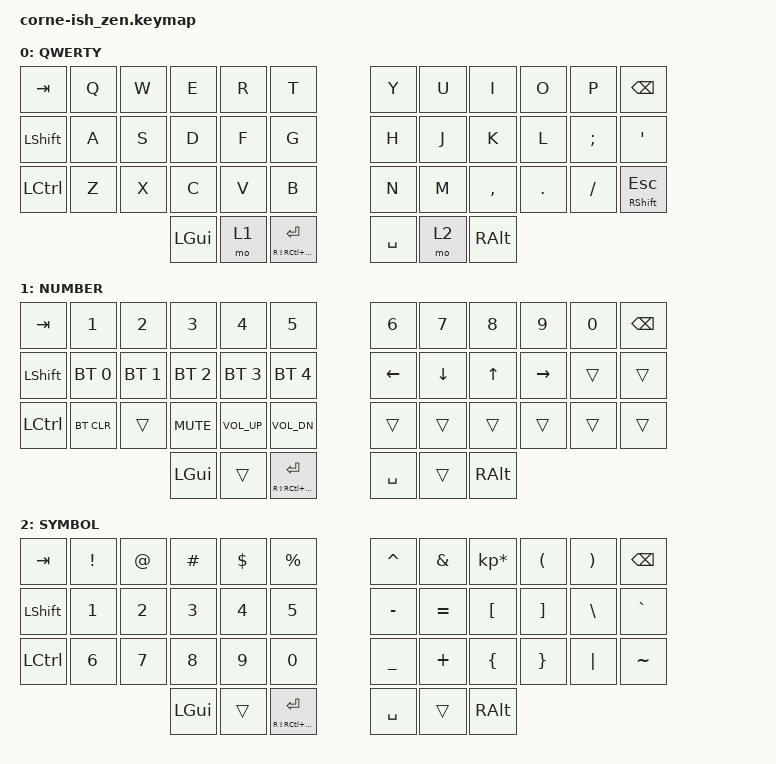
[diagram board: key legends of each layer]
/*
*
* Copyright (c) 2021 Darryl deHaan
* SPDX-License-Identifier: MIT
*
*/

#include <behaviors.dtsi>
#include <dt-bindings/zmk/keys.h>
#include <dt-bindings/zmk/bt.h>

&mt {
    flavor = "hold-preferred";
    tapping-term-ms = <150>;
};

/ {
        keymap {
                compatible = "zmk,keymap";

                default_layer {
                        label = "QWERTY";
// -----------------------------------------------------------------------------------------
// |  TAB |  Q  |  W  |  E  |  R  |  T  |   |  Y  |  U   |  I  |  O  |  P  | BKSP |
// | SHFT |  A  |  S  |  D  |  F  |  G  |   |  H  |  J   |  K  |  L  |  ;  |  '   |
// | CTRL |  Z  |  X  |  C  |  V  |  B  |   |  N  |  M   |  ,  |  .  |  /  | ESC  |
//                    | GUI | LWR | ENT |   | SPC | RSE  | ALT |
                        bindings = <
   &kp TAB   &kp Q &kp W &kp E &kp R &kp T   &kp Y &kp U  &kp I     &kp O   &kp P    &kp BSPC
   &kp LSHFT &kp A &kp S &kp D &kp F &kp G   &kp H &kp J  &kp K     &kp L   &kp SEMI &kp SQT
   &kp LCTRL &kp Z &kp X &kp C &kp V &kp B   &kp N &kp M  &kp COMMA &kp DOT &kp FSLH &mt RSHIFT ESC
                  &kp LGUI &mo 1 &mt RS(RC(RA(RGUI))) RET   &kp SPACE &mo 2 &kp RALT
                        >;
                };
                lower_layer {
                        label = "NUMBER";
// -----------------------------------------------------------------------------------------
// |  TAB |  1  |  2  |  3  |  4  |  5  |   |  6  |  7  |  8  |  9  |  0  | BKSP |
// | SHFT | BT1 | BT2 | BT3 | BT4 | BT5 |   | LFT | DWN |  UP | RGT |     |      |
// | CTRL |BTCLR|     | MUTE| VOLU| VOLD|   |     |     |     |     |     |      |
//                    | GUI |     | ENT |   | SPC |     | ALT |
                        bindings = <
   &kp TAB    &kp N1       &kp N2       &kp N3       &kp N4       &kp N5         &kp N6   &kp N7   &kp N8 &kp N9    &kp N0 &kp BSPC
   &kp LSHFT &bt BT_SEL 0 &bt BT_SEL 1 &bt BT_SEL 2 &bt BT_SEL 3 &bt BT_SEL 4   &kp LEFT &kp DOWN &kp UP &kp RIGHT &trans &trans
   &kp LCTRL &bt BT_CLR     &trans    &kp C_MUTE     &kp C_VOL_UP    &kp C_VOL_DN         &trans   &trans   &trans &trans    &trans &trans
                          	        &kp LGUI     &trans       &mt RS(RC(RA(RGUI))) RET      &kp SPACE  &trans   &kp RALT
                        >;
                };

                raise_layer {
                        label = "SYMBOL";
// -----------------------------------------------------------------------------------------
// |  TAB |  !  |  @  |  #  |  $  |  %  |   |  ^  |  &  |  *  |  (  |  )  | BKSP |
// | SHFT |  1  |  2  |  3  |  4  |  5  |   |  -  |  =  |  [  |  ]  |  \  |  `   |
// | CTRL |  6  |  7  |  8  |  9  |  0  |   |  _  |  +  |  {  |  }  | "|" |  ~   |
//                    | GUI |     | ENT |   | SPC |     | ALT |
                        bindings = <
   &kp  TAB  &kp EXCL &kp AT &kp HASH &kp DLLR &kp PRCNT   &kp CARET &kp AMPS  &kp KP_MULTIPLY &kp LPAR &kp RPAR &kp BSPC
   &kp LSHFT &kp N1   &kp N2 &kp N3 &kp N4   &kp N5      &kp MINUS &kp EQUAL &kp LBKT        &kp RBKT &kp BSLH &kp GRAVE
   &kp LCTRL &kp N6   &kp N7 &kp N8   &kp N9   &kp N0      &kp UNDER &kp PLUS  &kp LBRC        &kp RBRC &kp PIPE &kp TILDE
                    	     &kp LGUI &trans   &mt RS(RC(RA(RGUI))) RET   &kp SPACE   &trans    &kp RALT
                        >;
                };
        };
};
